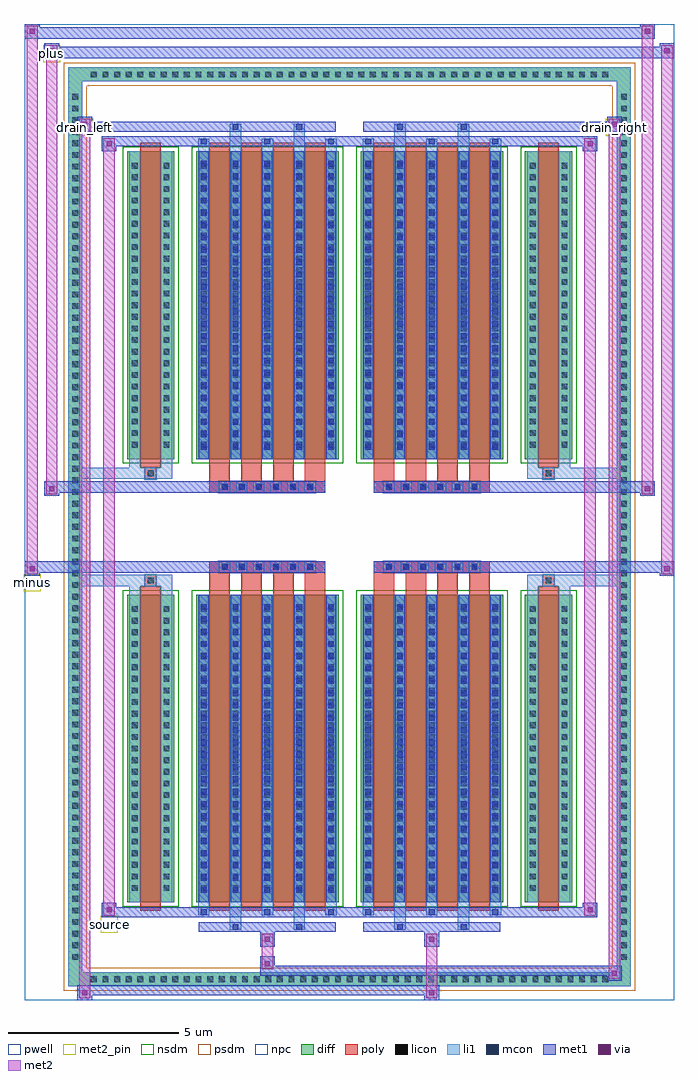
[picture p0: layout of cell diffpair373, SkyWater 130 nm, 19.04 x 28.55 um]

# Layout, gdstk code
import gdstk
lib = gdstk.Library(unit=1e-6, precision=5e-09)
def R(c, l, rs):  # rectangles x0, y0, x1, y1
    for r in rs: c.add(gdstk.rectangle(r[:2], r[2:], *l))
def A(c, l, x, y, w, h, nx, ny, dx, dy):  # array of equal rectangles
    R(c, l, [(x+i*dx, y+j*dy, x+i*dx+w, y+j*dy+h) for i in range(nx) for j in range(ny)])
def P(c, l, *ps):  # polygons
    for p in ps: c.add(gdstk.Polygon(p, *l))
pwell = (64, 44)
diff = (65, 20)
poly = (66, 20)
licon = (66, 44)
li1 = (67, 20)
mcon = (67, 44)
met1 = (68, 20)
via = (68, 44)
met2_pin = (69, 16)
met2 = (69, 20)
nsdm = (93, 44)
psdm = (94, 20)
npc = (95, 20)

diffpair373 = lib.new_cell('diffpair373')
R(diffpair373, pwell, [(-9.5,-13.84,9.5,14.71), (-6.82,-12.03,-0.01,-0.805), (0.01,-12.03,6.82,-0.805), (-6.82,0.805,-0.01,12.03), (0.01,0.805,6.82,12.03)])
A(diffpair373, diff, -7.685, -13.44, 0.41, 0.41, 45, 2, 0.34, 26.47)
A(diffpair373, diff, -8.23, -12.785, 0.41, 0.41, 1, 75, 0, 0.34)
A(diffpair373, diff, 7.82, -12.785, 0.41, 0.41, 1, 75, 0, 0.34)
R(diffpair373, diff, [(-7.685,-13.44,7.685,-13.03), (-8.23,-12.785,-7.82,12.785), (7.82,-12.785,8.23,12.785), (-6.51,-10.985,-5.13,-1.985), (-4.49,-10.985,-0.32,-1.985), (0.32,-10.985,4.49,-1.985), (5.13,-10.985,6.51,-1.985), (-6.51,1.985,-5.13,10.985), (-4.49,1.985,-0.32,10.985), (0.32,1.985,4.49,10.985), (5.13,1.985,6.51,10.985), (-7.685,13.03,7.685,13.44)])
P(diffpair373, diff, [(8.23,13.44),(-8.23,13.44),(-8.23,-13.03),(-7.82,-13.03),(-7.82,13.03),(7.82,13.03),(7.82,-13.03),(-7.82,-13.03),(-8.23,-13.03),(-8.23,-13.44),(8.23,-13.44)])
A(diffpair373, poly, -4.1, -11.235, 0.6, 9.5, 4, 2, 0.93, 12.97)
A(diffpair373, poly, 0.71, -11.235, 0.6, 9.5, 4, 2, 0.93, 12.97)
A(diffpair373, poly, -4.1, -1.735, 0.6, 0.4, 4, 2, 0.93, 3.07)
A(diffpair373, poly, 0.71, -1.735, 0.6, 0.4, 4, 2, 0.93, 3.07)
A(diffpair373, poly, -3.82, -1.335, 0.33, 0.33, 6, 2, 0.5, 2.34)
A(diffpair373, poly, 0.99, -1.335, 0.33, 0.33, 6, 2, 0.5, 2.34)
R(diffpair373, poly, [(-6.12,-11.235,-5.52,-1.735), (5.52,-11.235,6.12,-1.735), (-5.985,-1.735,-5.655,-1.405), (-5.985,-1.735,-5.655,-1.405), (5.655,-1.735,5.985,-1.405), (5.655,-1.735,5.985,-1.405), (-4.1,-1.335,-0.71,-1.005), (0.71,-1.335,4.1,-1.005), (-4.1,1.005,-0.71,1.335), (0.71,1.005,4.1,1.335), (-5.985,1.405,-5.655,1.735), (-5.985,1.405,-5.655,1.735), (5.655,1.405,5.985,1.735), (5.655,1.405,5.985,1.735), (-6.12,1.735,-5.52,11.235), (5.52,1.735,6.12,11.235)])
A(diffpair373, licon, -7.565, -13.32, 0.17, 0.17, 45, 2, 0.34, 26.47)
A(diffpair373, licon, -8.11, -12.665, 0.17, 0.17, 1, 75, 0, 0.34)
A(diffpair373, licon, 7.94, -12.665, 0.17, 0.17, 1, 75, 0, 0.34)
A(diffpair373, licon, -6.37, -10.65, 0.17, 0.17, 1, 25, 0, 0.34)
A(diffpair373, licon, -5.44, -10.65, 0.17, 0.17, 1, 25, 0, 0.34)
A(diffpair373, licon, -4.35, -10.65, 0.17, 0.17, 5, 25, 0.93, 0.34)
A(diffpair373, licon, 0.46, -10.65, 0.17, 0.17, 5, 25, 0.93, 0.34)
A(diffpair373, licon, 5.27, -10.65, 0.17, 0.17, 1, 25, 0, 0.34)
A(diffpair373, licon, 6.2, -10.65, 0.17, 0.17, 1, 25, 0, 0.34)
A(diffpair373, licon, -3.74, -1.255, 0.17, 0.17, 6, 2, 0.5, 2.34)
A(diffpair373, licon, 1.07, -1.255, 0.17, 0.17, 6, 2, 0.5, 2.34)
A(diffpair373, licon, -6.37, 2.32, 0.17, 0.17, 1, 25, 0, 0.34)
A(diffpair373, licon, -5.44, 2.32, 0.17, 0.17, 1, 25, 0, 0.34)
A(diffpair373, licon, -4.35, 2.32, 0.17, 0.17, 5, 25, 0.93, 0.34)
A(diffpair373, licon, 0.46, 2.32, 0.17, 0.17, 5, 25, 0.93, 0.34)
A(diffpair373, licon, 5.27, 2.32, 0.17, 0.17, 1, 25, 0, 0.34)
A(diffpair373, licon, 6.2, 2.32, 0.17, 0.17, 1, 25, 0, 0.34)
R(diffpair373, licon, [(-5.905,-1.655,-5.735,-1.485), (5.735,-1.655,5.905,-1.485), (-5.905,1.485,-5.735,1.655), (5.735,1.485,5.905,1.655)])
A(diffpair373, li1, -7.645, -13.4, 0.33, 0.33, 45, 2, 0.34, 26.47)
A(diffpair373, li1, -8.19, -12.745, 0.33, 0.33, 1, 75, 0, 0.34)
A(diffpair373, li1, 7.86, -12.745, 0.33, 0.33, 1, 75, 0, 0.34)
A(diffpair373, li1, -4.43, -11.36, 0.33, 0.375, 3, 2, 1.86, 22.345)
A(diffpair373, li1, -4.35, -11.36, 0.17, 0.17, 3, 2, 1.86, 22.55)
A(diffpair373, li1, 0.38, -11.36, 0.33, 0.375, 3, 2, 1.86, 22.345)
A(diffpair373, li1, 0.46, -11.36, 0.17, 0.17, 3, 2, 1.86, 22.55)
A(diffpair373, li1, -4.43, -10.985, 0.33, 9, 5, 2, 0.93, 12.97)
A(diffpair373, li1, 0.38, -10.985, 0.33, 9, 5, 2, 0.93, 12.97)
A(diffpair373, li1, -6.45, -10.73, 0.33, 0.33, 1, 25, 0, 0.34)
A(diffpair373, li1, -5.52, -10.73, 0.33, 0.33, 1, 25, 0, 0.34)
A(diffpair373, li1, -4.43, -10.73, 0.33, 0.33, 5, 25, 0.93, 0.34)
A(diffpair373, li1, 0.38, -10.73, 0.33, 0.33, 5, 25, 0.93, 0.34)
A(diffpair373, li1, 5.19, -10.73, 0.33, 0.33, 1, 25, 0, 0.34)
A(diffpair373, li1, 6.12, -10.73, 0.33, 0.33, 1, 25, 0, 0.34)
A(diffpair373, li1, -4.35, -10.71, 0.17, 0.17, 5, 24, 0.93, 0.36)
A(diffpair373, li1, -4.35, -10.71, 0.17, 8.45, 5, 2, 0.93, 12.97)
A(diffpair373, li1, 0.46, -10.71, 0.17, 0.17, 5, 24, 0.93, 0.36)
A(diffpair373, li1, 0.46, -10.71, 0.17, 8.45, 5, 2, 0.93, 12.97)
A(diffpair373, li1, -3.82, -1.335, 0.33, 0.33, 6, 2, 0.5, 2.34)
A(diffpair373, li1, 0.99, -1.335, 0.33, 0.33, 6, 2, 0.5, 2.34)
A(diffpair373, li1, -6.45, 2.24, 0.33, 0.33, 1, 25, 0, 0.34)
A(diffpair373, li1, -5.52, 2.24, 0.33, 0.33, 1, 25, 0, 0.34)
A(diffpair373, li1, -4.43, 2.24, 0.33, 0.33, 5, 25, 0.93, 0.34)
A(diffpair373, li1, 0.38, 2.24, 0.33, 0.33, 5, 25, 0.93, 0.34)
A(diffpair373, li1, 5.19, 2.24, 0.33, 0.33, 1, 25, 0, 0.34)
A(diffpair373, li1, 6.12, 2.24, 0.33, 0.33, 1, 25, 0, 0.34)
A(diffpair373, li1, -4.35, 2.26, 0.17, 0.17, 5, 24, 0.93, 0.36)
A(diffpair373, li1, 0.46, 2.26, 0.17, 0.17, 5, 24, 0.93, 0.36)
R(diffpair373, li1, [(-8.23,-13.44,-7.82,-13.03), (-8.23,-13.44,-7.82,-13.03), (-7.82,-13.44,7.82,-13.03), (7.82,-13.44,8.23,-13.03), (7.82,-13.44,8.23,-13.03), (-8.23,-13.03,-7.82,13.03), (7.82,-13.03,8.23,13.03), (-3.5,-11.79,-3.17,-10.985), (-3.42,-11.79,-3.25,-11.62), (-1.64,-11.79,-1.31,-10.985), (-1.56,-11.79,-1.39,-11.62), (1.31,-11.79,1.64,-10.985), (1.39,-11.79,1.56,-11.62), (3.17,-11.79,3.5,-10.985), (3.25,-11.79,3.42,-11.62), (-6.45,-10.985,-6.12,-1.985), (-5.52,-10.985,-5.19,-1.985), (5.19,-10.985,5.52,-1.985), (6.12,-10.985,6.45,-1.985), (-6.45,-1.985,-6.12,-1.405), (-5.52,-1.985,-5.19,-1.405), (5.19,-1.985,5.52,-1.405), (6.12,-1.985,6.45,-1.405), (-8.23,-1.735,-5.985,-1.405), (-6.45,-1.735,-5.985,-1.405), (-5.985,-1.735,-5.655,-1.405), (-5.655,-1.735,-5.19,-1.405), (5.19,-1.735,5.655,-1.405), (5.655,-1.735,5.985,-1.405), (5.655,-1.735,8.23,-1.405), (5.985,-1.735,6.45,-1.405), (-8.23,1.405,-5.985,1.735), (-6.45,1.405,-5.985,1.735), (-6.45,1.405,-6.12,1.985), (-5.985,1.405,-5.655,1.735), (-5.655,1.405,-5.19,1.735), (-5.52,1.405,-5.19,1.985), (5.19,1.405,5.655,1.735), (5.19,1.405,5.52,1.985), (5.655,1.405,5.985,1.735), (5.655,1.405,8.23,1.735), (5.985,1.405,6.45,1.735), (6.12,1.405,6.45,1.985), (-6.45,1.985,-6.12,10.985), (-5.52,1.985,-5.19,10.985), (5.19,1.985,5.52,10.985), (6.12,1.985,6.45,10.985), (-3.5,10.985,-3.17,11.79), (-1.64,10.985,-1.31,11.79), (1.31,10.985,1.64,11.79), (3.17,10.985,3.5,11.79), (-3.42,11.62,-3.25,11.79), (-1.56,11.62,-1.39,11.79), (1.39,11.62,1.56,11.79), (3.25,11.62,3.42,11.79), (-8.23,13.03,-7.82,13.44), (-8.23,13.03,-7.82,13.44), (-7.82,13.03,7.82,13.44), (7.82,13.03,8.23,13.44), (7.82,13.03,8.23,13.44)])
A(diffpair373, mcon, -4.35, -11.36, 0.17, 0.17, 3, 2, 1.86, 22.55)
A(diffpair373, mcon, 0.46, -11.36, 0.17, 0.17, 3, 2, 1.86, 22.55)
A(diffpair373, mcon, -4.35, -10.71, 0.17, 0.17, 5, 24, 0.93, 0.36)
A(diffpair373, mcon, 0.46, -10.71, 0.17, 0.17, 5, 24, 0.93, 0.36)
A(diffpair373, mcon, -3.74, -1.255, 0.17, 0.17, 6, 2, 0.5, 2.34)
A(diffpair373, mcon, 1.07, -1.255, 0.17, 0.17, 6, 2, 0.5, 2.34)
A(diffpair373, mcon, -4.35, 2.26, 0.17, 0.17, 5, 24, 0.93, 0.36)
A(diffpair373, mcon, 0.46, 2.26, 0.17, 0.17, 5, 24, 0.93, 0.36)
R(diffpair373, mcon, [(-3.42,-11.79,-3.25,-11.62), (-1.56,-11.79,-1.39,-11.62), (1.39,-11.79,1.56,-11.62), (3.25,-11.79,3.42,-11.62), (-3.42,11.62,-3.25,11.79), (-1.56,11.62,-1.39,11.79), (1.39,11.62,1.56,11.79), (3.25,11.62,3.42,11.79)])
A(diffpair373, met1, -4.41, -11.42, 0.29, 0.29, 3, 2, 1.86, 22.55)
A(diffpair373, met1, 0.4, -11.42, 0.29, 0.29, 3, 2, 1.86, 22.55)
A(diffpair373, met1, -4.41, -10.985, 0.29, 9, 5, 2, 0.93, 12.97)
A(diffpair373, met1, 0.4, -10.985, 0.29, 9, 5, 2, 0.93, 12.97)
A(diffpair373, met1, -4.41, -10.77, 0.29, 0.29, 5, 24, 0.93, 0.36)
A(diffpair373, met1, 0.4, -10.77, 0.29, 0.29, 5, 24, 0.93, 0.36)
A(diffpair373, met1, -3.8, -1.315, 0.29, 0.29, 6, 2, 0.5, 2.34)
A(diffpair373, met1, 1.01, -1.315, 0.29, 0.29, 6, 2, 0.5, 2.34)
A(diffpair373, met1, -4.41, 2.2, 0.29, 0.29, 5, 24, 0.93, 0.36)
A(diffpair373, met1, 0.4, 2.2, 0.29, 0.29, 5, 24, 0.93, 0.36)
R(diffpair373, met1, [(-7.96,-13.84,-7.53,-13.41), (2.19,-13.84,2.62,-13.41), (-7.96,-13.7,2.62,-13.41), (7.53,-13.27,7.96,-12.84), (-2.62,-13.13,7.96,-12.84), (-2.62,-12.99,-2.19,-12.56), (-2.62,-12.28,-2.19,-11.85), (2.19,-12.28,2.62,-11.85), (-4.41,-11.85,-0.4,-11.56), (-3.48,-11.85,-3.19,-11.56), (-1.62,-11.85,-1.33,-11.56), (0.4,-11.85,4.41,-11.56), (1.33,-11.85,1.62,-11.56), (3.19,-11.85,3.48,-11.56), (-7.25,-11.42,-6.82,-10.99), (-7.25,-11.42,-4.41,-11.13), (-4.41,-11.42,-0.4,-11.13), (-0.4,-11.42,0.4,-11.13), (0.4,-11.42,4.41,-11.13), (4.41,-11.42,7.25,-11.13), (6.82,-11.42,7.25,-10.99), (-9.5,-1.435,-9.07,-1.005), (9.07,-1.435,9.5,-1.005), (-9.5,-1.335,-0.71,-1.005), (-4.1,-1.335,-0.71,-1.005), (0.71,-1.335,4.1,-1.005), (0.71,-1.335,9.5,-1.005), (-8.93,0.905,-8.5,1.335), (8.5,0.905,8.93,1.335), (-8.93,1.005,-4.1,1.335), (-4.1,1.005,-0.71,1.335), (0.71,1.005,4.1,1.335), (4.1,1.005,8.93,1.335), (-7.25,10.99,-6.82,11.42), (6.82,10.99,7.25,11.42), (-7.25,11.13,-4.41,11.42), (-4.41,11.13,-0.4,11.42), (-0.4,11.13,0.4,11.42), (0.4,11.13,4.41,11.42), (4.41,11.13,7.25,11.42), (-7.96,11.56,-7.53,11.99), (-7.96,11.56,-4.41,11.85), (-4.41,11.56,-0.4,11.85), (-3.48,11.56,-3.19,11.85), (-1.62,11.56,-1.33,11.85), (0.4,11.56,4.41,11.85), (1.33,11.56,1.62,11.85), (3.19,11.56,3.48,11.85), (4.41,11.56,7.96,11.85), (7.53,11.56,7.96,11.99), (-8.93,13.71,-8.5,14.14), (-8.93,13.71,-6.82,14.04), (-6.82,13.71,6.82,14.04), (6.82,13.71,9.5,14.04), (9.07,13.71,9.5,14.14), (-9.5,14.28,-9.07,14.71), (-9.5,14.28,-6.82,14.61), (-6.82,14.28,6.82,14.61), (6.82,14.28,8.93,14.61), (8.5,14.28,8.93,14.71)])
R(diffpair373, via, [(-7.82,-13.7,-7.67,-13.55), (2.33,-13.7,2.48,-13.55), (7.67,-13.13,7.82,-12.98), (-2.48,-12.85,-2.33,-12.7), (-2.48,-12.14,-2.33,-11.99), (2.33,-12.14,2.48,-11.99), (-7.11,-11.28,-6.96,-11.13), (6.96,-11.28,7.11,-11.13), (-9.36,-1.295,-9.21,-1.145), (9.21,-1.295,9.36,-1.145), (-8.79,1.045,-8.64,1.195), (8.64,1.045,8.79,1.195), (-7.11,11.13,-6.96,11.28), (6.96,11.13,7.11,11.28), (-7.82,11.7,-7.67,11.85), (7.67,11.7,7.82,11.85), (-8.79,13.85,-8.64,14), (9.21,13.85,9.36,14), (-9.36,14.42,-9.21,14.57), (8.64,14.42,8.79,14.57)])
R(diffpair373, met2_pin, [(-7.285,-11.87,-6.785,-11.37), (-9.535,-1.885,-9.035,-1.385), (-7.995,11.44,-7.495,11.94), (7.495,11.44,7.995,11.94), (-8.965,13.59,-8.465,14.09)])
R(diffpair373, met2, [(-7.91,-13.79,-7.58,-13.46), (-7.91,-13.79,-7.58,11.94), (2.24,-13.79,2.57,-13.46), (2.24,-13.46,2.57,-12.23), (7.58,-13.22,7.91,-12.89), (7.58,-13.22,7.91,11.94), (-2.57,-12.94,-2.24,-12.61), (-2.57,-12.61,-2.24,-12.23), (-2.57,-12.23,-2.24,-11.9), (2.24,-12.23,2.57,-11.9), (-7.2,-11.37,-6.87,-11.04), (-7.2,-11.37,-6.87,11.37), (6.87,-11.37,7.2,-11.04), (6.87,-11.37,7.2,11.37), (-9.45,-1.385,-9.12,-1.055), (-9.45,-1.385,-9.12,14.66), (9.12,-1.385,9.45,-1.055), (9.12,-1.385,9.45,14.09), (-8.88,0.955,-8.55,1.285), (-8.88,0.955,-8.55,14.09), (8.55,0.955,8.88,1.285), (8.55,0.955,8.88,14.66), (-7.2,11.04,-6.87,11.37), (6.87,11.04,7.2,11.37), (-7.91,11.61,-7.58,11.94), (7.58,11.61,7.91,11.94), (-8.88,13.76,-8.55,14.09), (9.12,13.76,9.45,14.09), (-9.45,14.33,-9.12,14.66), (8.55,14.33,8.88,14.66)])
P(diffpair373, met2, [(9.45,-1.385),(9.45,-1.385),(9.45,-1.055),(9.45,-1.055)],
  [(9.45,13.76),(9.45,13.76),(9.45,14.09),(9.45,14.09)],
  [(-9.12,-1.385),(-9.12,-1.385),(-9.12,-1.055),(-9.12,-1.055)],
  [(-9.12,14.33),(-9.12,14.33),(-9.12,14.66),(-9.12,14.66)],
  [(8.88,0.955),(8.88,0.955),(8.88,1.285),(8.88,1.285)],
  [(8.88,14.33),(8.88,14.33),(8.88,14.66),(8.88,14.66)],
  [(-8.55,0.955),(-8.55,0.955),(-8.55,1.285),(-8.55,1.285)],
  [(-8.55,13.76),(-8.55,13.76),(-8.55,14.09),(-8.55,14.09)],
  [(-7.58,-13.79),(-7.58,-13.79),(-7.58,-13.46),(-7.58,-13.46)],
  [(-7.58,11.61),(-7.58,11.61),(-7.58,11.94),(-7.58,11.94)],
  [(7.91,-13.22),(7.91,-13.22),(7.91,-12.89),(7.91,-12.89)],
  [(7.91,11.61),(7.91,11.61),(7.91,11.94),(7.91,11.94)],
  [(-6.87,-11.37),(-6.87,-11.37),(-6.87,-11.04),(-6.87,-11.04)],
  [(-6.87,11.04),(-6.87,11.04),(-6.87,11.37),(-6.87,11.37)],
  [(7.2,-11.37),(7.2,-11.37),(7.2,-11.04),(7.2,-11.04)],
  [(7.2,11.04),(7.2,11.04),(7.2,11.37),(7.2,11.37)])
R(diffpair373, nsdm, [(-6.64,-11.115,-5,-1.855), (-4.62,-11.115,-0.19,-1.855), (0.19,-11.115,4.62,-1.855), (5,-11.115,6.64,-1.855), (-6.64,1.855,-5,11.115), (-4.62,1.855,-0.19,11.115), (0.19,1.855,4.62,11.115), (5,1.855,6.64,11.115)])
P(diffpair373, psdm, [(8.36,13.57),(-8.36,13.57),(-8.36,-12.9),(-7.69,-12.9),(-7.69,12.9),(7.69,12.9),(7.69,-12.9),(-7.69,-12.9),(-8.36,-12.9),(-8.36,-13.57),(8.36,-13.57)])
A(diffpair373, npc, -3.84, -1.355, 0.37, 0.37, 6, 2, 0.5, 2.34)
A(diffpair373, npc, 0.97, -1.355, 0.37, 0.37, 6, 2, 0.5, 2.34)
R(diffpair373, npc, [(-6.005,-1.755,-5.635,-1.385), (5.635,-1.755,6.005,-1.385), (-3.84,-1.355,-2.97,-0.985), (-3.84,-1.355,-2.97,-0.985), (-3.34,-1.355,-2.47,-0.985), (-3.34,-1.355,-2.47,-0.985), (-2.84,-1.355,-1.97,-0.985), (-2.84,-1.355,-1.97,-0.985), (-2.34,-1.355,-1.47,-0.985), (-2.34,-1.355,-1.47,-0.985), (-1.84,-1.355,-0.97,-0.985), (-1.84,-1.355,-0.97,-0.985), (0.97,-1.355,1.84,-0.985), (0.97,-1.355,1.84,-0.985), (1.47,-1.355,2.34,-0.985), (1.47,-1.355,2.34,-0.985), (1.97,-1.355,2.84,-0.985), (1.97,-1.355,2.84,-0.985), (2.47,-1.355,3.34,-0.985), (2.47,-1.355,3.34,-0.985), (2.97,-1.355,3.84,-0.985), (2.97,-1.355,3.84,-0.985), (-3.84,0.985,-2.97,1.355), (-3.84,0.985,-2.97,1.355), (-3.34,0.985,-2.47,1.355), (-3.34,0.985,-2.47,1.355), (-2.84,0.985,-1.97,1.355), (-2.84,0.985,-1.97,1.355), (-2.34,0.985,-1.47,1.355), (-2.34,0.985,-1.47,1.355), (-1.84,0.985,-0.97,1.355), (-1.84,0.985,-0.97,1.355), (0.97,0.985,1.84,1.355), (0.97,0.985,1.84,1.355), (1.47,0.985,2.34,1.355), (1.47,0.985,2.34,1.355), (1.97,0.985,2.84,1.355), (1.97,0.985,2.84,1.355), (2.47,0.985,3.34,1.355), (2.47,0.985,3.34,1.355), (2.97,0.985,3.84,1.355), (2.97,0.985,3.84,1.355), (-6.005,1.385,-5.635,1.755), (5.635,1.385,6.005,1.755)])
diffpair373.add(gdstk.Label('minus', (-9.285,-1.635), layer=69, texttype=5))
diffpair373.add(gdstk.Label('drain_right', (7.745,11.69), layer=69, texttype=5))
diffpair373.add(gdstk.Label('drain_left', (-7.745,11.69), layer=69, texttype=5))
diffpair373.add(gdstk.Label('source', (-7.035,-11.62), layer=69, texttype=5))
diffpair373.add(gdstk.Label('plus', (-8.715,13.84), layer=69, texttype=5))

lib.write_gds('diffpair373.gds')
